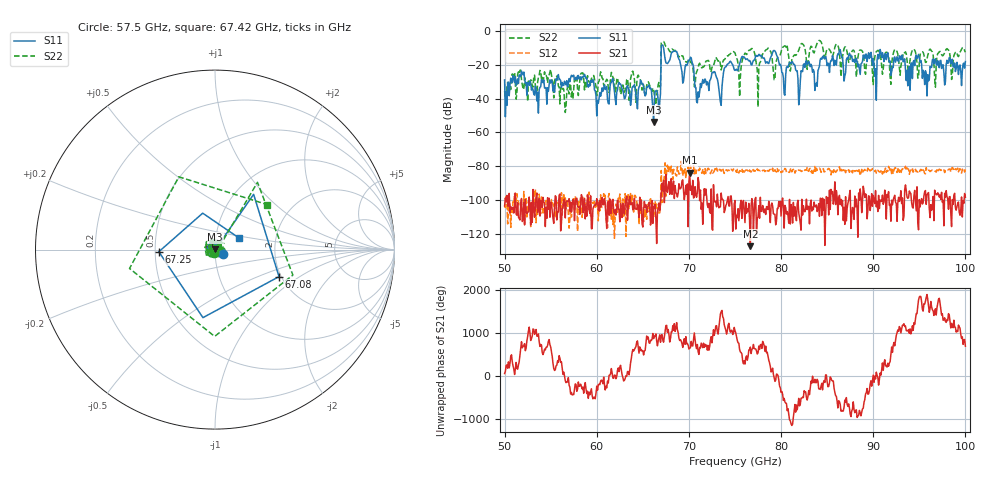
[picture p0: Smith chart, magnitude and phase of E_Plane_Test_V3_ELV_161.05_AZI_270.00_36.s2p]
! 11/26/2026 4:23:31 PM
! C:\ANRITSUVNA\TEMP\TEMP.S2P
! CHANNEL.1
! TR.MEASUREMENT
! RAW.DATA
# HZ S RI R 50.0
! FREQ.HZ  S11RE  S11IM  S21RE  S21IM  S12RE  S12IM  S22RE  S22IM
!; PortSelection: Port_12
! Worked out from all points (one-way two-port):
!   601 points, 50 GHz to 100 GHz, reference 50 ohm
!   highest |S21| = -83.87 dB at 70.08 GHz (marker M1); lowest = -127.4 dB at 76.67 GHz (marker M2)
!   lowest |S11| = -53.8 dB at 66.17 GHz (marker M3), VSWR 1.00, Z = 50.1 + j0.15 ohm
!   |S11| at or under -10 dB: start of sweep to 67 GHz; 67.25 GHz to end of sweep
!   |S22| runs from -48.2 to -5.6 dB; largest |S21 - S12| = 0.00013
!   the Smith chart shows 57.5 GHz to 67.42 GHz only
!   S11 on the Smith chart (normalised r, x): 57.5 GHz: 1.09, -0.05; 67.08 GHz: 1.95, -0.69; 67.25 GHz: 0.52, -0.01; 67.42 GHz: 1.29, +0.17
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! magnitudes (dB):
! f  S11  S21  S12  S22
! 50 GHz  -28.9  -103.6  -103.1  -35.6
! 57.5 GHz  -26.1  -100.2  -98.6  -34.6
! 58.42 GHz  -27.2  -98.5  -110.4  -24.8
! 60.17 GHz  -42.7  -106.0  -112.4  -30.4
! 66.17 GHz  -53.8  -103.8  -109.9  -34.0
! 66.67 GHz  -41.5  -105.3  -108.6  -31.6
! 67.08 GHz  -8.2  -90.2  -101.5  -6.8
! 67.25 GHz  -10.1  -88.4  -89.0  -6.2
! 67.42 GHz  -16.6  -94.6  -78.1  -8.3
! 70.08 GHz  -16.9  -83.9  -84.9  -17.0
! 70.92 GHz  -42.5  -95.5  -83.2  -23.2
! 75 GHz  -23.3  -100.4  -82.9  -13.0
! 75.58 GHz  -18.0  -102.3  -82.8  -27.1
! 76.67 GHz  -18.0  -127.4  -83.4  -11.2
! 77.58 GHz  -13.8  -103.5  -82.5  -21.9
! 78.5 GHz  -18.2  -104.2  -82.9  -10.8
! 79.33 GHz  -11.8  -108.6  -82.1  -28.8
! 83.42 GHz  -24.4  -104.4  -85.3  -10.8
! 91.67 GHz  -16.6  -95.1  -80.2  -15.2
! 94.83 GHz  -15.1  -113.3  -83.6  -27.9
! 95.83 GHz  -38.4  -97.0  -82.9  -16.5
! 100 GHz  -18.1  -98.4  -81.9  -12.6
